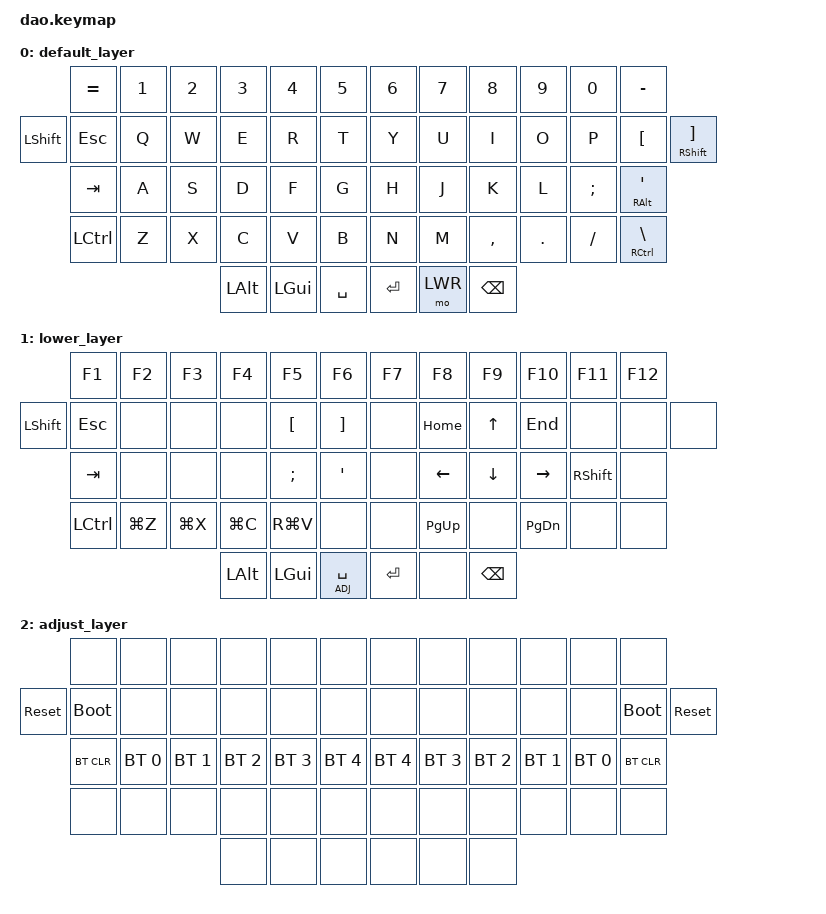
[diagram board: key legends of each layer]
/*
 * Copyright (c) 2021 Rafael Yumagulov
 *
 * SPDX-License-Identifier: MIT
 */

#include <behaviors.dtsi>
#include <dt-bindings/zmk/keys.h>
#include <dt-bindings/zmk/bt.h>

#define DEF 0
#define LWR 1
#define ADJ 2

&lt {
    quick_tap_ms = <200>;
};

&mt {
    quick_tap_ms = <200>;
};

/ {
    keymap {
        compatible = "zmk,keymap";

        default_layer {
            // -----------------------------------------------------------------------------------------
            // |  GUI |   ~  |  Q  |  W  |  E  |  R  |  T  |   |  Y  |  U   |  I  |  O  |  P  |  [   | GUI/] |
            //        | CTRL |  A  |  S  |  D  |  F  |  G  |   |  H  |  J   |  K  |  L  |  ;  |CTRL/'|
            //        | LALT |  Z  |  X  |  C  |  V  |  B  |   |  N  |  M   |  ,  |  .  |  /  | RALT |
            //                           | RSE | SPC | LWR |   | LWR | BKSP | RSE |

            bindings = <
            &kp EQUAL  &kp N1  &kp N2    &kp N3    &kp N4     &kp N5     &kp N6   &kp N7     &kp N8   &kp N9    &kp N0       &kp MINUS
&kp LSHIFT    &kp ESC   &kp Q   &kp W     &kp E     &kp R      &kp T      &kp Y    &kp U      &kp I    &kp O     &kp P        &kp LBKT  &mt RSHFT RBKT
              &kp TAB   &kp A   &kp S     &kp D     &kp F      &kp G      &kp H    &kp J      &kp K    &kp L  &kp SEMI    &mt RALT SQT
            &kp LCTRL   &kp Z   &kp X     &kp C     &kp V      &kp B      &kp N    &kp M  &kp COMMA  &kp DOT  &kp FSLH  &mt RCTRL BSLH
                                       &kp LALT  &kp LGUI  &kp SPACE    &kp RET  &mo LWR   &kp BSPC
            >;
        };

        lower_layer {
            // -----------------------------------------------------------------------------------------
            // |     |  _  |  F1 |  F2 |  F3 |  F4 |  F5 |   |  F6 |  F7 |  F8 |  F9 | F10 | F11 | F12 |
            //       |  +  |  !  |  @  |  #  |  $  |  %  |   |  ^  |  &  |  *  |  (  |  )  |  -  |
            //       |  =  |  1  | §    2  |  3  |  4  |  5  |   |  6  |  7  |  8  |  9  |  0  |     |
            //                    | GUI |     | SPC |   | ENT |     | ALT |

            bindings = <
               &kp F1     &kp F2     &kp F3     &kp F4     &kp F5         &kp F6     &kp F7       &kp F8    &kp F9        &kp F10    &kp F11  &kp F12
&kp LSHIFT    &kp ESC      &none      &none      &none   &kp LBKT       &kp RBKT      &none     &kp HOME    &kp UP        &kp END      &none    &none  &none
              &kp TAB      &none      &none      &none   &kp SEMI        &kp SQT      &none     &kp LEFT  &kp DOWN      &kp RIGHT  &kp RSHFT    &none
            &kp LCTRL  &kp LG(Z)  &kp LG(X)  &kp LG(C)  &kp RG(V)          &none      &none  &kp PAGE_UP     &none  &kp PAGE_DOWN      &none    &none
                                              &kp LALT   &kp LGUI  &lt ADJ SPACE    &kp RET        &none  &kp BSPC
            >;
        };

        adjust_layer {
            // -----------------------------------------------------------------------------------------
            // | RST | BLDR |     |     |     |     |     |   |     |     |     |     |     | BLDR | RST |
            //       | BTCLR| BT0 | BT1 | BT2 | BT3 | BT4 |   | BT4 | BT3 | BT2 | BT1 | BT0 | BTCLR|
            //       |      |     |     |     |     |     |   |     |     |     |     |     |      |
            //                          |     |     |     |   |     |     |     |

            bindings = <
                  &none         &none         &none         &none         &none         &none           &none         &none         &none         &none         &none        &none
&sys_reset  &bootloader         &none         &none         &none         &none         &none           &none         &none         &none         &none         &none  &bootloader  &sys_reset
             &bt BT_CLR  &bt BT_SEL 0  &bt BT_SEL 1  &bt BT_SEL 2  &bt BT_SEL 3  &bt BT_SEL 4    &bt BT_SEL 4  &bt BT_SEL 3  &bt BT_SEL 2  &bt BT_SEL 1  &bt BT_SEL 0   &bt BT_CLR
                  &none         &none         &none         &none         &none         &none           &none         &none         &none         &none         &none        &none
                                                            &none         &none         &none           &none         &none         &none
            >;
        };
    };
};
